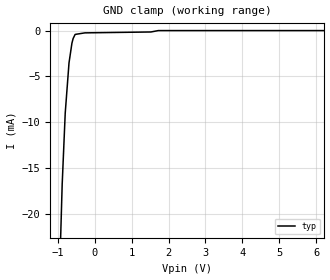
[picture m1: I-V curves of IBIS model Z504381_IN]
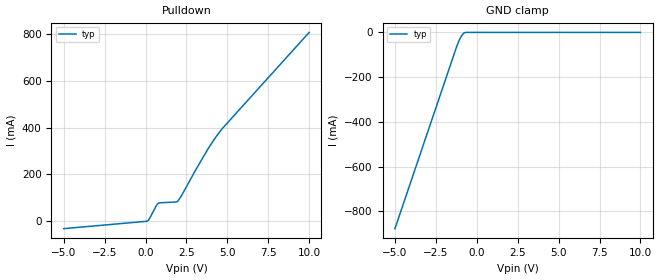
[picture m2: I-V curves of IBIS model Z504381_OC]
| YOU ARE ONLY AUTHORIZED TO USE THIS SOFTWARE
| ACCORDING TO LICENSOR'S LICENSE RESTRICTIONS.
[IBIS Ver] 3.1
[File Name] sn54ls145j.ibs
[File Rev] 2.0
[Source] Measured and created by ICX Technology
[Date] Friday 7/14/00 9:08:13 AM
[Copyright]
| (C) COPYRIGHT 1993-2000
| MENTOR GRAPHICS CORPORATION
| ICX STANDARD LIBRARY, ICX PROJECT MODELING,
| ICX CUSTOM MODELING, ICX VENDOR MODEL
| ALL RIGHTS RESERVED.
| THE FOLLOWING ARE TRADEMARKS OR SERVICE MARKS OF
| MENTOR GRAPHICS CORPORATION:ICX (R), ICX STANDARD
| LIBRARY(R), ICX PROJECT MODELING(R), ICX CUSTOM
| MODELING(R), qualityIBIS(TM), MODELVIEWER(TM),
| AND MODELEDITOR(TM)
| ALL COPIES OF SOFTWARE, INCLUDING BUT NOT LIMITED TO
| ANY MODIFICATIONS, ENHANCEMENTS OR DERIVATIVE WORKS,
| MUST CONTAIN ALL MENTOR GRAPHICS CORPORATION'S
| NOTICES AND LEGENDS, INCLUDING THOSE EMBEDDED IN
| SOFTWARE AND THOSE AFFIXED TO SOFTWARE MEDIUM
| AND CONTAINER, AS RECEIVED FROM MENTOR GRAPHICS
| CORPORATION.
|  ZAP Model Builder 2.7
[Component] SN54LS145J
[Manufacturer] OnSemiconductor
[Package]
| variable   typ   min   max
R_pkg  .212ohms NA NA
L_pkg  4.758nH NA NA
C_pkg  1.944pF NA NA
[Pin] signal_name  model_name  R_pin  L_pin C_pin
1 _Y0 Z504381_OC .224 7.258n 2.683p
2 _Y1 Z504381_OC .216 5.258n 2.19p
3 _Y2 Z504381_OC .208 3.758n 1.697p
4 _Y3 Z504381_OC .2 2.758n 1.204p
5 _Y4 Z504381_OC .2 2.758n 1.204p
6 _Y5 Z504381_OC .208 3.758n 1.697p
7 _Y6 Z504381_OC .216 5.258n 2.19p
8 GND GND .224 7.258n 2.683p
9 _Y7 Z504381_OC .224 7.258n 2.683p
10 _Y8 Z504381_OC .216 5.258n 2.19p
11 _Y9 Z504381_OC .208 3.758n 1.697p
12 D Z504381_IN .2 2.758n 1.204p
13 C Z504381_IN .2 2.758n 1.204p
14 B Z504381_IN .208 3.758n 1.697p
15 A Z504381_IN .216 5.258n 2.19p
16 VCC POWER .224 7.258n 2.683p
| Models and submodels in the file (2): Z504381_IN (Input), Z504381_OC (Open_sink)
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| (C) COPYRIGHT 1993-2000
| MENTOR GRAPHICS CORPORATION
| ICX STANDARD LIBRARY, ICX PROJECT MODELING,
| ICX CUSTOM MODELING, ICX VENDOR MODEL
| ALL RIGHTS RESERVED.
| THE FOLLOWING ARE TRADEMARKS OR SERVICE MARKS OF
| MENTOR GRAPHICS CORPORATION:ICX (R), ICX STANDARD
| LIBRARY(R), ICX PROJECT MODELING(R), ICX CUSTOM
| MODELING(R), qualityIBIS(TM), MODELVIEWER(TM),
| AND MODELEDITOR(TM)
| ALL COPIES OF SOFTWARE, INCLUDING BUT NOT LIMITED TO
| ANY MODIFICATIONS, ENHANCEMENTS OR DERIVATIVE WORKS,
| MUST CONTAIN ALL MENTOR GRAPHICS CORPORATION'S
| NOTICES AND LEGENDS, INCLUDING THOSE EMBEDDED IN
| SOFTWARE AND THOSE AFFIXED TO SOFTWARE MEDIUM
| AND CONTAINER, AS RECEIVED FROM MENTOR GRAPHICS
| CORPORATION.
| Model Application Version 1.89 2/18/99.
[Model] Z504381_IN
Model_type Input
Vinl = 800.0mV
Vinh = 2.000V
C_comp 4.000pF NA NA
| variable typ   min   max
[Voltage Range] 5.000V NA NA
[GND Clamp Reference] 0.000V NA NA
[POWER Clamp Reference] 5.000V NA NA
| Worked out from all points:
|   GND clamp passes 1 mA (typ) near -0.59 V on its own axis
[GND Clamp]
-5V       -588.8mA   NA         NA
-877.8mV  -16.76mA   NA         NA
-795.8mV  -9.016mA   NA         NA
-693.4mV  -3.54mA    NA         NA
-614.5mV  -1.385mA   NA         NA
-581mV    -864uA     NA         NA
-527.2mV  -423.3uA   NA         NA
-263.6mV  -255.2uA   NA         NA
1.524V    -157.8uA   NA         NA
1.723V    -5.744uA   NA         NA
10V       -5.744uA   NA         NA
[POWER Clamp]
-5V       0A         NA         NA
10V       0A         NA         NA
| (C) COPYRIGHT 1993-2000
| MENTOR GRAPHICS CORPORATION
| ICX STANDARD LIBRARY, ICX PROJECT MODELING,
| ICX CUSTOM MODELING, ICX VENDOR MODEL
| ALL RIGHTS RESERVED.
| THE FOLLOWING ARE TRADEMARKS OR SERVICE MARKS OF
| MENTOR GRAPHICS CORPORATION:ICX (R), ICX STANDARD
| LIBRARY(R), ICX PROJECT MODELING(R), ICX CUSTOM
| MODELING(R), qualityIBIS(TM), MODELVIEWER(TM),
| AND MODELEDITOR(TM)
| ALL COPIES OF SOFTWARE, INCLUDING BUT NOT LIMITED TO
| ANY MODIFICATIONS, ENHANCEMENTS OR DERIVATIVE WORKS,
| MUST CONTAIN ALL MENTOR GRAPHICS CORPORATION'S
| NOTICES AND LEGENDS, INCLUDING THOSE EMBEDDED IN
| SOFTWARE AND THOSE AFFIXED TO SOFTWARE MEDIUM
| AND CONTAINER, AS RECEIVED FROM MENTOR GRAPHICS
| CORPORATION.
| Model Application Version 1.89 2/18/99.
[Model] Z504381_OC
Model_type Open_sink
Vref=5.000V
Rref=2.001kohms
Cref=15.00pF
Vmeas=1.300V
C_comp 8.000pF NA NA
| variable typ   min   max
[Voltage Range] 5.000V NA NA
[POWER Clamp Reference] 5.000V NA NA
[Pullup Reference] 5.000V NA NA
[Pulldown Reference] 0.000V NA NA
[GND Clamp Reference] 0.000V NA NA
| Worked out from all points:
|   slope of the pulldown table from 0 to 0.75 V, typ, clamps not added: 9.94 ohm
|   GND clamp passes 1 mA (typ) near -0.73 V on its own axis
[GND Clamp]
-5V       -877mA     NA         NA
-1.211V   -59.68mA   NA         NA
-1.045V   -30.46mA   NA         NA
-887.1mV  -10.97mA   NA         NA
-761.7mV  -1.387mA   NA         NA
-652.9mV  0A         NA         NA
10V       0A         NA         NA
[Pulldown]
-5V       -32.38mA   NA         NA
68.51mV   -829.7uA   NA         NA
202.7mV   6.547mA    NA         NA
654.3mV   65.68mA    NA         NA
801mV     76.98mA    NA         NA
1.935V    83.21mA    NA         NA
2.206V    109.2mA    NA         NA
3.008V    211.7mA    NA         NA
3.839V    311.4mA    NA         NA
4.321V    361.8mA    NA         NA
4.703V    396.6mA    NA         NA
10V       806.9mA    NA         NA
[POWER Clamp]
-5V       0A         NA         NA
10V       0A         NA         NA
[Ramp]
| variable typ min max
dV/dt_r 2.815/16.64n NA NA
dV/dt_f 2.815/4.919n NA NA
R_load = 250.0Ohms
